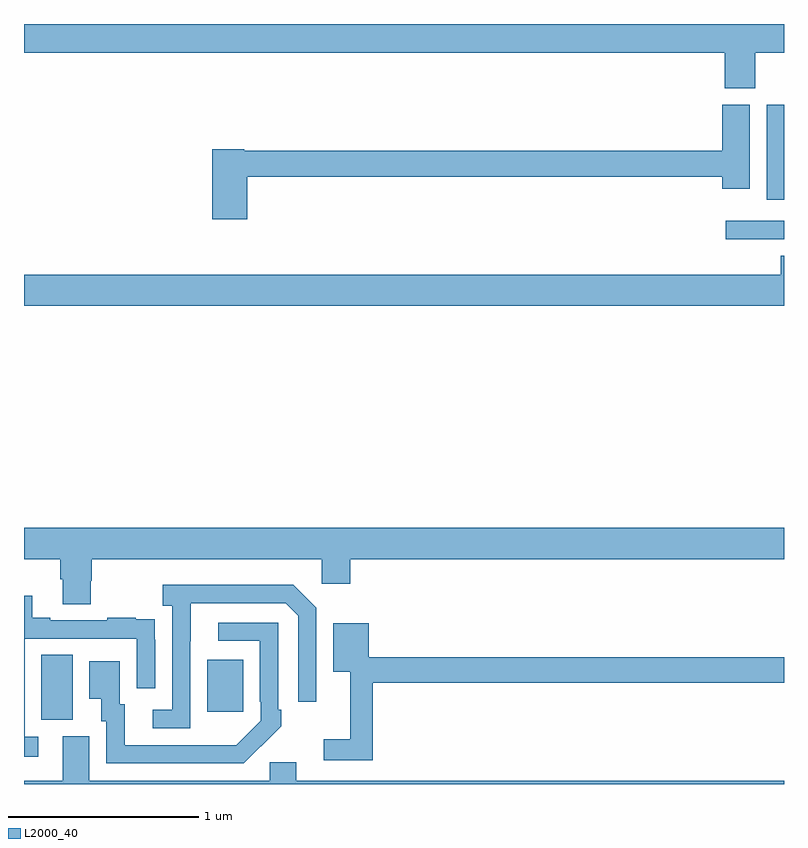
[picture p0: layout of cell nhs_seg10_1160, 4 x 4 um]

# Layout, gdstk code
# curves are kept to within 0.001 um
import gdstk
lib = gdstk.Library(unit=1e-6, precision=1e-09)
def R(c, l, rs):  # rectangles x0, y0, x1, y1
    for r in rs: c.add(gdstk.rectangle(r[:2], r[2:], *l))
def P(c, l, *ps):  # polygons
    for p in ps: c.add(gdstk.Polygon(p, *l))
L2000_40 = (2000, 40)

nhs_seg10_1160 = lib.new_cell('nhs_seg10_1160')
R(nhs_seg10_1160, L2000_40, [(171.092,1264.837,171.256,1265.18), (171.965,1264.881,172.153,1265.155), (174.693,1267.368,175,1267.464), (174.908,1267.574,175,1268.074)])
P(nhs_seg10_1160, L2000_40, [(174.849,1268.348),(175,1268.348),(175,1268.5),(171,1268.5),(171,1268.348),(174.689,1268.348),(174.689,1268.161),(174.849,1268.161)],
  [(172.175,1267.696),(174.674,1267.696),(174.674,1267.632),(174.82,1267.632),(174.82,1268.076),(174.674,1268.076),(174.674,1267.832),(172.158,1267.832),(172.158,1267.84),(171.992,1267.84),(171.992,1267.473),(172.175,1267.473)],
  [(175,1267.279),(174.983,1267.279),(174.983,1267.18),(171,1267.18),(171,1267.016),(175,1267.016)],
  [(171,1265.684),(171.191,1265.684),(171.191,1265.578),(171.203,1265.578),(171.203,1265.446),(171.351,1265.446),(171.351,1265.571),(171.356,1265.571),(171.356,1265.684),(172.566,1265.684),(172.566,1265.553),(172.718,1265.553),(172.718,1265.684),(175,1265.684),(175,1265.848),(171,1265.848)],
  [(171.876,1265.251),(171.877,1265.451),(172.377,1265.451),(172.443,1265.385),(172.443,1264.932),(172.539,1264.932),(172.539,1265.427),(172.418,1265.548),(171.729,1265.548),(171.729,1265.438),(171.78,1265.438),(171.78,1264.89),(171.678,1264.89),(171.678,1264.794),(171.876,1264.794)],
  [(171.076,1264.749),(171.003,1264.749),(171.003,1265.265),(171.594,1265.265),(171.594,1265.004),(171.69,1265.004),(171.69,1265.258),(171.689,1265.258),(171.689,1265.367),(171.587,1265.367),(171.587,1265.374),(171.439,1265.374),(171.439,1265.361),(171.139,1265.361),(171.139,1265.374),(171.043,1265.374),(171.043,1265.491),(171,1265.491),(171,1264.644),(171.076,1264.644)],
  [(172.247,1264.699),(172.248,1264.698),(172.353,1264.803),(172.353,1264.891),(172.338,1264.891),(172.338,1265.349),(172.023,1265.349),(172.023,1265.253),(172.242,1265.253),(172.242,1264.933),(172.245,1264.933),(172.245,1264.833),(172.117,1264.705),(171.529,1264.704),(171.529,1264.92),(171.505,1264.92),(171.505,1265.146),(171.344,1265.146),(171.344,1264.949),(171.407,1264.949),(171.407,1264.83),(171.432,1264.83),(171.432,1264.608),(172.156,1264.608)],
  [(172.835,1265.032),(175,1265.032),(175,1265.168),(172.815,1265.168),(172.815,1265.347),(172.628,1265.347),(172.628,1265.09),(172.718,1265.09),(172.718,1264.735),(172.578,1264.735),(172.578,1264.626),(172.835,1264.626)],
  [(175,1264.516),(172.432,1264.516),(172.432,1264.614),(172.293,1264.614),(172.293,1264.516),(171.343,1264.516),(171.343,1264.752),(171.203,1264.752),(171.203,1264.516),(171,1264.516),(171,1264.5),(175,1264.5)])

lib.write_gds('nhs_seg10_1160.gds')
